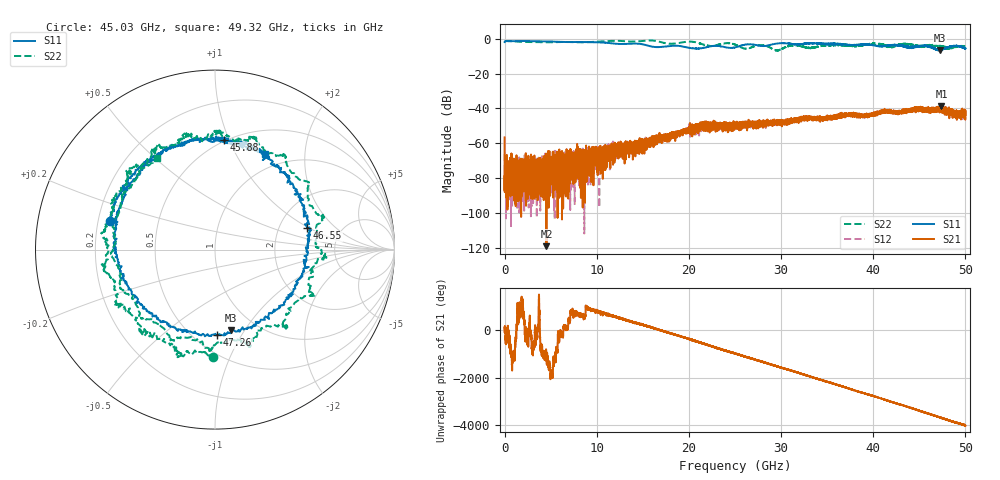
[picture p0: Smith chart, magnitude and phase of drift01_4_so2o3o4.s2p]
!Created with skrf (http://scikit-rf.org).
# Hz S RI R 50.0
!freq ReS11 ImS11 ReS21 ImS21 ReS12 ImS12 ReS22 ImS22
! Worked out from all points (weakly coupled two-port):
!   10001 points, 300 kHz to 50 GHz, reference 50 ohm
!   highest |S21| = -38.84 dB at 47.4 GHz (marker M1); lowest = -118.9 dB at 4.54 GHz (marker M2)
!   lowest |S11| = -6.8 dB at 47.2 GHz (marker M3), VSWR 2.69, Z = 38.2 - j43.5 ohm
!   |S11| at or under -10 dB: nowhere
!   |S22| runs from -6.9 to -1.0 dB; largest |S21 - S12| = 0.0036
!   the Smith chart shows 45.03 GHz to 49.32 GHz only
!   S11 on the Smith chart (normalised r, x): 45.03 GHz: 0.25, +0.12; 45.88 GHz: 0.48, +0.96; 46.55 GHz: 2.88, +0.95; 47.26 GHz: 0.64, -0.79; 49.32 GHz: 0.80, +1.33
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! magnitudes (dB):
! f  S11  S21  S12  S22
! 300 kHz  -2.1  -56.6  -66.3  -1.3
! 250.3 MHz  -1.4  -70.3  -72.9  -1.4
! 320.3 MHz  -1.4  -69.9  -71.1  -1.3
! 4.54 GHz  -1.6  -118.9  -76.3  -2.1
! 8.335 GHz  -2.0  -63.7  -66.2  -2.1
! 16.67 GHz  -4.9  -57.7  -55.6  -1.6
! 21.75 GHz  -5.1  -48.6  -49.8  -3.7
! 25 GHz  -5.0  -51.4  -49.4  -3.4
! 26.16 GHz  -3.4  -50.0  -51.5  -5.7
! 28.09 GHz  -4.3  -47.9  -49.2  -3.8
! 29.51 GHz  -2.9  -47.1  -48.8  -6.7
! 31.26 GHz  -3.2  -47.6  -47.1  -3.9
! 33.34 GHz  -2.6  -45.7  -45.5  -5.4
! 41.67 GHz  -3.9  -40.9  -41.5  -4.7
! 45.03 GHz  -4.3  -40.3  -40.0  -4.5
! 45.88 GHz  -4.2  -40.4  -40.5  -4.3
! 46.55 GHz  -5.6  -40.0  -40.2  -4.1
! 47.2 GHz  -6.8  -39.6  -40.4  -4.5
! 47.26 GHz  -6.4  -41.5  -41.9  -4.2
! 47.4 GHz  -6.5  -38.8  -41.3  -5.0
! 49.32 GHz  -4.4  -41.9  -43.0  -4.4
! 50 GHz  -5.6  -43.7  -41.3  -4.2
